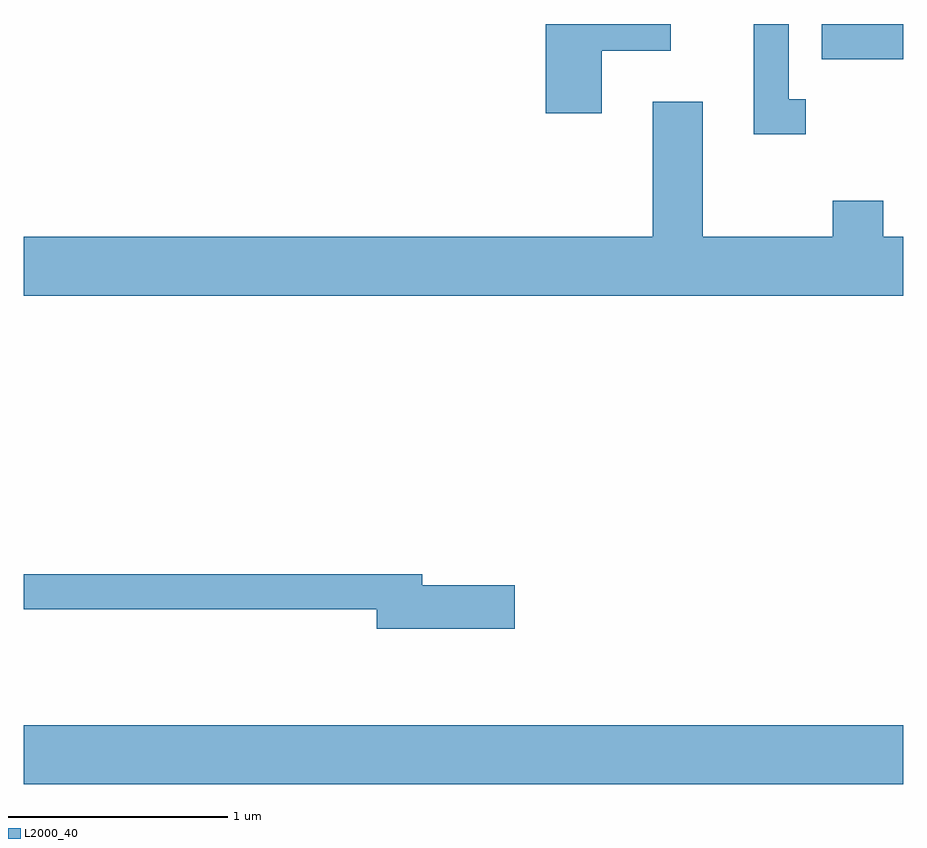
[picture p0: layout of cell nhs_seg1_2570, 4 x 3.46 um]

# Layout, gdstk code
import gdstk
lib = gdstk.Library(unit=1e-6, precision=1e-09)
def R(c, l, rs):  # rectangles x0, y0, x1, y1
    for r in rs: c.add(gdstk.rectangle(r[:2], r[2:], *l))
def P(c, l, *ps):  # polygons
    for p in ps: c.add(gdstk.Polygon(p, *l))
L2000_40 = (2000, 40)

nhs_seg1_2570 = lib.new_cell('nhs_seg1_2570')
R(nhs_seg1_2570, L2000_40, [(263.611,886.256,267.611,886.524), (267.241,889.551,267.611,889.712)])
P(nhs_seg1_2570, L2000_40, [(267.168,889.369),(267.089,889.369),(267.089,889.712),(266.931,889.712),(266.931,889.211),(267.168,889.211)],
  [(266.239,889.591),(266.554,889.591),(266.554,889.712),(265.986,889.712),(265.986,889.306),(266.239,889.306)],
  [(267.611,888.744),(267.519,888.744),(267.519,888.909),(267.291,888.909),(267.291,888.744),(266.699,888.744),(266.699,889.359),(266.471,889.359),(266.471,888.744),(263.611,888.744),(263.611,888.476),(267.611,888.476)],
  [(265.844,887.159),(265.424,887.159),(265.424,887.209),(263.611,887.209),(263.611,887.051),(265.216,887.051),(265.216,886.961),(265.844,886.961)])

lib.write_gds('nhs_seg1_2570.gds')
